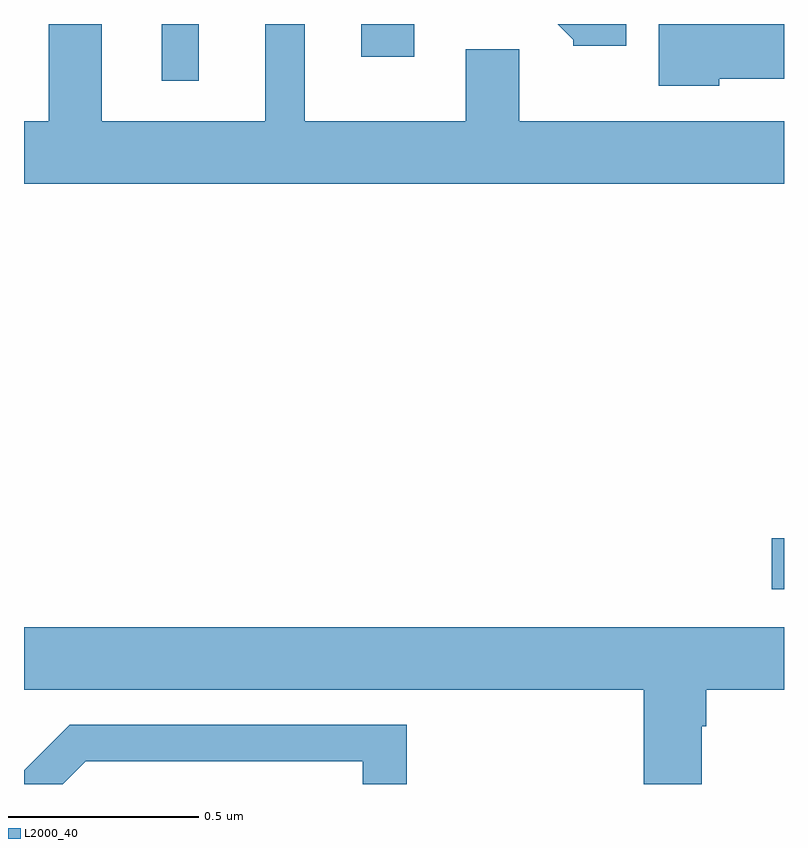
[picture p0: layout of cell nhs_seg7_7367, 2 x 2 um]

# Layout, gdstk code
import gdstk
lib = gdstk.Library(unit=1e-6, precision=1e-09)
def R(c, l, rs):  # rectangles x0, y0, x1, y1
    for r in rs: c.add(gdstk.rectangle(r[:2], r[2:], *l))
def P(c, l, *ps):  # polygons
    for p in ps: c.add(gdstk.Polygon(p, *l))
L2000_40 = (2000, 40)

nhs_seg7_7367 = lib.new_cell('nhs_seg7_7367')
R(nhs_seg7_7367, L2000_40, [(211.968,1035.512,212,1035.647), (210.362,1036.851,210.46,1037), (210.887,1036.914,211.027,1037)])
P(nhs_seg7_7367, L2000_40, [(212,1036.744),(211.303,1036.744),(211.303,1036.934),(211.163,1036.934),(211.163,1036.744),(210.739,1036.744),(210.739,1037),(210.635,1037),(210.635,1036.744),(210.205,1036.744),(210.205,1037),(210.065,1037),(210.065,1036.744),(210,1036.744),(210,1036.58),(212,1036.58)],
  [(211.83,1036.856),(212,1036.856),(212,1037),(211.67,1037),(211.67,1036.838),(211.83,1036.838)],
  [(211.585,1037),(211.404,1037),(211.446,1036.958),(211.446,1036.943),(211.585,1036.943)],
  [(211.783,1035.152),(211.796,1035.152),(211.796,1035.248),(212,1035.248),(212,1035.412),(210,1035.412),(210,1035.248),(211.631,1035.248),(211.631,1035),(211.783,1035)],
  [(210.162,1035.06),(210.891,1035.06),(210.891,1035),(211.007,1035),(211.007,1035.156),(210.12,1035.156),(210,1035.036),(210,1035),(210.102,1035)])

lib.write_gds('nhs_seg7_7367.gds')
